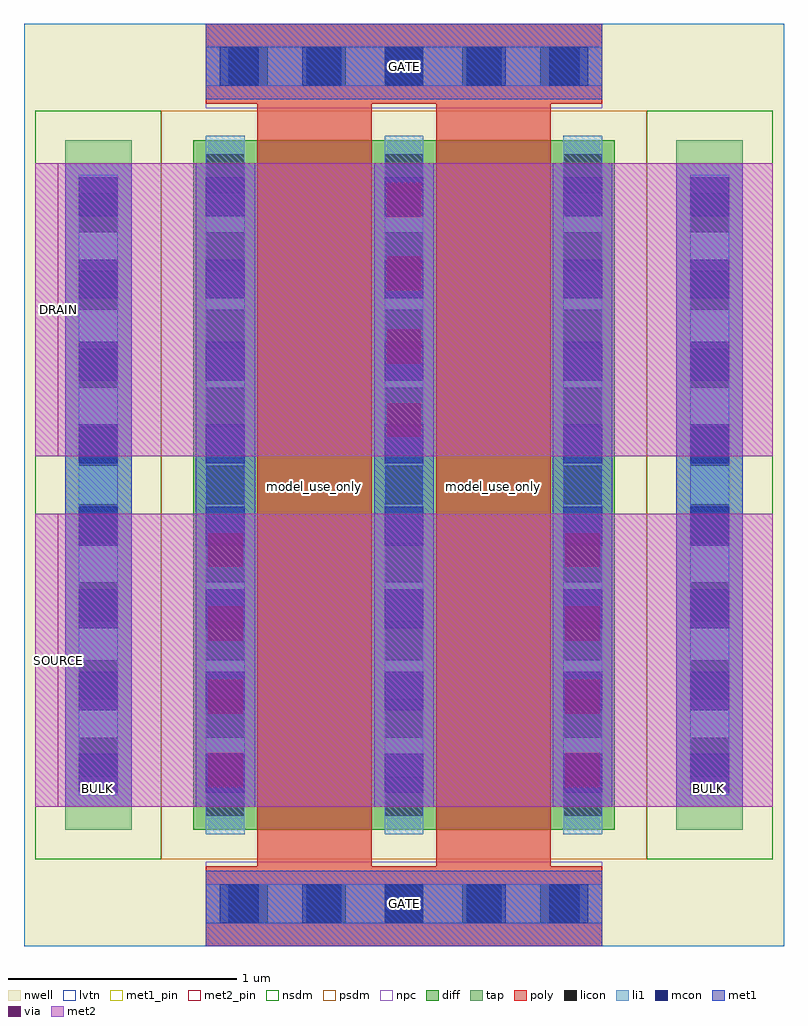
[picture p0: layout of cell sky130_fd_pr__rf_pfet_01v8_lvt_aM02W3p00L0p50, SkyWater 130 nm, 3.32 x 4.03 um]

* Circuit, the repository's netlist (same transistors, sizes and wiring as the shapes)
* Copyright 2020 The SkyWater PDK Authors
*
* Licensed under the Apache License, Version 2.0 (the "License");
* you may not use this file except in compliance with the License.
* You may obtain a copy of the License at
*
*     https://www.apache.org/licenses/LICENSE-2.0
*
* Unless required by applicable law or agreed to in writing, software
* distributed under the License is distributed on an "AS IS" BASIS,
* WITHOUT WARRANTIES OR CONDITIONS OF ANY KIND, either express or implied.
* See the License for the specific language governing permissions and
* limitations under the License.
*
* SPDX-License-Identifier: Apache-2.0


.subckt sky130_fd_pr__rf_pfet_01v8_lvt_aM02W3p00L0p50 BULK DRAIN GATE SOURCE
X0 DRAIN GATE SOURCE BULK sky130_fd_pr__pfet_01v8_lvt w=3.01e+06u l=500000u
X1 SOURCE GATE DRAIN BULK sky130_fd_pr__pfet_01v8_lvt w=3.01e+06u l=500000u
.ends

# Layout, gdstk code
import gdstk
lib = gdstk.Library(unit=1e-6, precision=1e-09)
def R(c, l, rs):  # rectangles x0, y0, x1, y1
    for r in rs: c.add(gdstk.rectangle(r[:2], r[2:], *l))
def A(c, l, x, y, w, h, nx, ny, dx, dy):  # array of equal rectangles
    R(c, l, [(x+i*dx, y+j*dy, x+i*dx+w, y+j*dy+h) for i in range(nx) for j in range(ny)])
nwell = (64, 20)
diff = (65, 20)
tap = (65, 44)
poly = (66, 20)
licon = (66, 44)
li1 = (67, 20)
mcon = (67, 44)
met1_pin = (68, 16)
met1 = (68, 20)
via = (68, 44)
met2_pin = (69, 16)
met2 = (69, 20)
nsdm = (93, 44)
psdm = (94, 20)
npc = (95, 20)
lvtn = (125, 44)

sky130_fd_pr__rf_pfet_01 = lib.new_cell('sky130_fd_pr__rf_pfet_01v8_lvt_aM02W3p00L0p50')
R(sky130_fd_pr__rf_pfet_01, nwell, [(0,0,3.32,4.03)])
R(sky130_fd_pr__rf_pfet_01, diff, [(0.74,0.51,2.58,3.52)])
R(sky130_fd_pr__rf_pfet_01, tap, [(0.18,0.51,0.47,3.52), (2.85,0.51,3.14,3.52)])
R(sky130_fd_pr__rf_pfet_01, poly, [(0.795,0,2.525,0.35), (1.02,0.35,1.52,3.68), (1.8,0.35,2.3,3.68), (0.795,3.68,2.525,4.03)])
A(sky130_fd_pr__rf_pfet_01, licon, 0.895, 0.1, 0.17, 0.17, 5, 2, 0.34, 3.66)
A(sky130_fd_pr__rf_pfet_01, licon, 0.795, 0.57, 0.17, 0.17, 3, 9, 0.78, 0.34)
A(sky130_fd_pr__rf_pfet_01, licon, 0.24, 0.74, 0.17, 0.17, 1, 8, 0, 0.34)
A(sky130_fd_pr__rf_pfet_01, licon, 2.91, 0.74, 0.17, 0.17, 1, 8, 0, 0.34)
A(sky130_fd_pr__rf_pfet_01, li1, 0.795, 0.49, 0.17, 3.05, 3, 1, 0.78, 0)
A(sky130_fd_pr__rf_pfet_01, li1, 0.795, 0.67, 0.17, 2.69, 3, 1, 0.78, 0)
R(sky130_fd_pr__rf_pfet_01, li1, [(0.795,0.1,2.525,0.27), (0.855,0.1,2.465,0.27), (0.24,0.66,0.41,3.37), (2.91,0.66,3.08,3.37), (0.24,0.67,0.41,3.36), (2.91,0.67,3.08,3.36), (0.795,3.76,2.525,3.93), (0.855,3.76,2.465,3.93)])
A(sky130_fd_pr__rf_pfet_01, mcon, 0.855, 0.1, 0.17, 0.17, 5, 2, 0.36, 3.66)
A(sky130_fd_pr__rf_pfet_01, mcon, 0.24, 0.67, 0.17, 0.17, 1, 8, 0, 0.36)
A(sky130_fd_pr__rf_pfet_01, mcon, 0.795, 0.67, 0.17, 0.17, 3, 8, 0.78, 0.36)
A(sky130_fd_pr__rf_pfet_01, mcon, 2.91, 0.67, 0.17, 0.17, 1, 8, 0, 0.36)
R(sky130_fd_pr__rf_pfet_01, met1_pin, [(0.795,0,2.525,0.33), (0.18,0.61,0.47,0.69), (2.85,0.61,3.14,0.69), (0.795,3.7,2.525,4.03)])
A(sky130_fd_pr__rf_pfet_01, met1, 0.75, 0.61, 0.26, 2.81, 3, 1, 0.78, 0)
R(sky130_fd_pr__rf_pfet_01, met1, [(0.795,0,2.525,0.33), (0.18,0.61,0.47,3.42), (0.75,0.61,1.01,1.89), (2.31,0.61,2.57,1.89), (2.85,0.61,3.14,3.42), (1.53,2.14,1.79,3.42), (0.795,3.7,2.525,4.03)])
A(sky130_fd_pr__rf_pfet_01, via, 0.805, 0.695, 0.15, 0.15, 1, 4, 0, 0.32)
A(sky130_fd_pr__rf_pfet_01, via, 2.365, 0.695, 0.15, 0.15, 1, 4, 0, 0.32)
A(sky130_fd_pr__rf_pfet_01, via, 1.585, 2.225, 0.15, 0.15, 1, 4, 0, 0.32)
R(sky130_fd_pr__rf_pfet_01, met2_pin, [(0.05,0.61,0.15,1.89), (0.05,2.14,0.15,3.42)])
R(sky130_fd_pr__rf_pfet_01, met2, [(0.05,0.61,3.27,1.89), (0.75,0.61,1.01,1.89), (2.31,0.61,2.57,1.89), (0.05,2.14,3.27,3.42), (1.53,2.14,1.79,3.42)])
R(sky130_fd_pr__rf_pfet_01, nsdm, [(0.05,0.38,0.6,3.65), (2.72,0.38,3.27,3.65)])
R(sky130_fd_pr__rf_pfet_01, psdm, [(0.6,0.38,2.72,3.65)])
R(sky130_fd_pr__rf_pfet_01, npc, [(0.795,0,2.525,0.37), (0.795,3.66,2.525,4.03)])
R(sky130_fd_pr__rf_pfet_01, lvtn, [(0,0,3.32,4.03)])
sky130_fd_pr__rf_pfet_01.add(gdstk.Label('model_use_only', (1.27,2.01), layer=66, texttype=83))
sky130_fd_pr__rf_pfet_01.add(gdstk.Label('model_use_only', (2.05,2.01), layer=66, texttype=83))
sky130_fd_pr__rf_pfet_01.add(gdstk.Label('SOURCE', (0.15,1.25), layer=69, texttype=5))
sky130_fd_pr__rf_pfet_01.add(gdstk.Label('DRAIN', (0.15,2.78), layer=69, texttype=5))
sky130_fd_pr__rf_pfet_01.add(gdstk.Label('GATE', (1.66,3.845), layer=68, texttype=5))
sky130_fd_pr__rf_pfet_01.add(gdstk.Label('GATE', (1.66,0.185), layer=68, texttype=5))
sky130_fd_pr__rf_pfet_01.add(gdstk.Label('BULK', (2.99,0.69), layer=68, texttype=5))
sky130_fd_pr__rf_pfet_01.add(gdstk.Label('BULK', (0.32,0.69), layer=68, texttype=5))

lib.write_gds('sky130_fd_pr__rf_pfet_01v8_lvt_aM02W3p00L0p50.gds')
